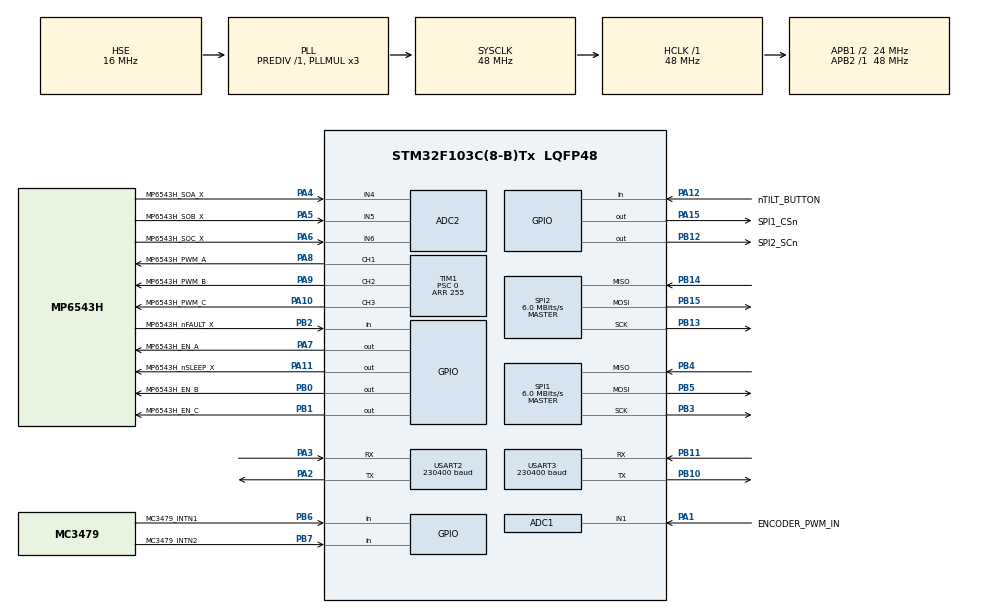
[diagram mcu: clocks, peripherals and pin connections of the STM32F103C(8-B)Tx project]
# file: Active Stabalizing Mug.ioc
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ADC1.Channel-0\#ChannelRegularConversion=ADC_CHANNEL_1
ADC1.NbrOfConversionFlag=1
ADC1.Rank-0\#ChannelRegularConversion=1
ADC1.SamplingTime-0\#ChannelRegularConversion=ADC_SAMPLETIME_1CYCLE_5
ADC1.master=1
ADC2.Channel-1\#ChannelRegularConversion=ADC_CHANNEL_4
ADC2.Channel-2\#ChannelRegularConversion=ADC_CHANNEL_5
ADC2.Channel-3\#ChannelRegularConversion=ADC_CHANNEL_6
ADC2.ContinuousConvMode=DISABLE
ADC2.DiscontinuousConvMode=ENABLE
ADC2.NbrOfConversion=3
ADC2.NbrOfConversionFlag=1
ADC2.NbrOfDiscConversion=3
ADC2.Rank-1\#ChannelRegularConversion=1
ADC2.Rank-2\#ChannelRegularConversion=2
ADC2.Rank-3\#ChannelRegularConversion=3
ADC2.SamplingTime-1\#ChannelRegularConversion=ADC_SAMPLETIME_1CYCLE_5
ADC2.SamplingTime-2\#ChannelRegularConversion=ADC_SAMPLETIME_1CYCLE_5
ADC2.SamplingTime-3\#ChannelRegularConversion=ADC_SAMPLETIME_1CYCLE_5
Mcu.Family=STM32F1
Mcu.Name=STM32F103C(8-B)Tx
Mcu.Package=LQFP48
NVIC.PriorityGroup=NVIC_PRIORITYGROUP_4
PA1.GPIO_Label=ENCODER_PWM_IN
PA1.Signal=ADCx_IN1
PA10.GPIO_Label=MP6543H_PWM_C
PA10.Signal=S_TIM1_CH3
PA11.GPIO_Label=MP6543H_nSLEEP_X
PA11.Signal=GPIO_Output
PA12.GPIO_Label=nTILT_BUTTON
PA12.GPIO_PuPd=GPIO_PULLUP
PA12.Signal=GPIO_Input
PA13.GPIO_Label=SYS_SWDIO
PA13.Mode=Serial_Wire
PA13.Signal=SYS_JTMS-SWDIO
PA14.GPIO_Label=SYS_SWCLK
PA14.Mode=Serial_Wire
PA14.Signal=SYS_JTCK-SWCLK
PA15.GPIO_Label=SPI1_CSn
PA15.Signal=GPIO_Output
PA2.Mode=Asynchronous
PA2.Signal=USART2_TX
PA3.Mode=Asynchronous
PA3.Signal=USART2_RX
PA4.GPIO_Label=MP6543H_SOA_X
PA4.Signal=ADCx_IN4
PA5.GPIO_Label=MP6543H_SOB_X
PA5.Signal=ADCx_IN5
PA6.GPIO_Label=MP6543H_SOC_X
PA6.Signal=ADCx_IN6
PA7.GPIO_Label=MP6543H_EN_A
PA7.Signal=GPIO_Output
PA8.GPIO_Label=MP6543H_PWM_A
PA8.Signal=S_TIM1_CH1
PA9.GPIO_Label=MP6543H_PWM_B
PA9.Signal=S_TIM1_CH2
PB0.GPIO_Label=MP6543H_EN_B
PB0.Signal=GPIO_Output
PB1.GPIO_Label=MP6543H_EN_C
PB1.Signal=GPIO_Output
PB10.Mode=Asynchronous
PB10.Signal=USART3_TX
PB11.Mode=Asynchronous
PB11.Signal=USART3_RX
PB12.GPIO_Label=SPI2_SCn
PB12.Signal=GPIO_Output
PB13.Mode=Full_Duplex_Master
PB13.Signal=SPI2_SCK
PB14.Mode=Full_Duplex_Master
PB14.Signal=SPI2_MISO
PB15.Mode=Full_Duplex_Master
PB15.Signal=SPI2_MOSI
PB2.GPIO_Label=MP6543H_nFAULT_X
PB2.GPIO_PuPd=GPIO_PULLUP
PB2.Signal=GPIO_Input
PB3.Mode=Full_Duplex_Master
PB3.Signal=SPI1_SCK
PB4.GPIO_PuPd=GPIO_PULLUP
PB4.Mode=Full_Duplex_Master
PB4.Signal=SPI1_MISO
PB5.Mode=Full_Duplex_Master
PB5.Signal=SPI1_MOSI
PB6.GPIO_Label=MC3479_INTN1
PB6.GPIO_PuPd=GPIO_PULLUP
PB6.Signal=GPIO_Input
PB7.GPIO_Label=MC3479_INTN2
PB7.GPIO_PuPd=GPIO_PULLUP
PB7.Signal=GPIO_Input
PD0-OSC_IN.Mode=HSE-External-Oscillator
PD0-OSC_IN.Signal=RCC_OSC_IN
PD1-OSC_OUT.Mode=HSE-External-Oscillator
PD1-OSC_OUT.Signal=RCC_OSC_OUT
ProjectManager.HeapSize=0x200
ProjectManager.StackSize=0x400
ProjectManager.TargetToolchain=STM32CubeIDE
RCC.ADCPresc=RCC_ADCPCLK2_DIV4
RCC.AHBFreq_Value=48000000
RCC.APB1CLKDivider=RCC_HCLK_DIV2
RCC.APB1Freq_Value=24000000
RCC.APB1TimFreq_Value=48000000
RCC.APB2Freq_Value=48000000
RCC.APB2TimFreq_Value=48000000
RCC.HCLKFreq_Value=48000000
RCC.HSE_VALUE=16000000
RCC.PLLMUL=RCC_PLL_MUL3
RCC.PLLSourceVirtual=RCC_PLLSOURCE_HSE
RCC.SYSCLKFreq_VALUE=48000000
RCC.SYSCLKSource=RCC_SYSCLKSOURCE_PLLCLK
RCC.USBFreq_Value=48000000
SH.ADCx_IN1.0=ADC1_IN1,IN1
SH.ADCx_IN4.0=ADC2_IN4,IN4
SH.ADCx_IN5.0=ADC2_IN5,IN5
SH.ADCx_IN6.0=ADC2_IN6,IN6
SH.S_TIM1_CH1.0=TIM1_CH1,PWM Generation1 CH1
SH.S_TIM1_CH2.0=TIM1_CH2,PWM Generation2 CH2
SH.S_TIM1_CH3.0=TIM1_CH3,PWM Generation3 CH3
SPI1.BaudRatePrescaler=SPI_BAUDRATEPRESCALER_8
SPI1.CLKPolarity=SPI_POLARITY_LOW
SPI1.CalculateBaudRate=6.0 MBits/s
SPI1.Direction=SPI_DIRECTION_2LINES
SPI1.Mode=SPI_MODE_MASTER
SPI1.VirtualType=VM_MASTER
SPI2.BaudRatePrescaler=SPI_BAUDRATEPRESCALER_4
SPI2.CalculateBaudRate=6.0 MBits/s
SPI2.DataSize=SPI_DATASIZE_8BIT
SPI2.Direction=SPI_DIRECTION_2LINES
SPI2.FirstBit=SPI_FIRSTBIT_MSB
SPI2.Mode=SPI_MODE_MASTER
SPI2.VirtualType=VM_MASTER
TIM1.AutoReloadPreload=TIM_AUTORELOAD_PRELOAD_ENABLE
TIM1.Channel-PWM\ Generation1\ CH1=TIM_CHANNEL_1
TIM1.Channel-PWM\ Generation2\ CH2=TIM_CHANNEL_2
TIM1.Channel-PWM\ Generation3\ CH3=TIM_CHANNEL_3
TIM1.ClockDivision=TIM_CLOCKDIVISION_DIV1
TIM1.Period=255
TIM1.Prescaler=0
TIM1.Pulse-PWM\ Generation1\ CH1=0
TIM1.Pulse-PWM\ Generation2\ CH2=0
TIM2.Prescaler=48-1
USART2.BaudRate=230400
USART2.VirtualMode=VM_ASYNC
USART3.BaudRate=230400
USART3.VirtualMode=VM_ASYNC
VP_TIM1_VS_ClockSourceINT.Mode=Internal
VP_TIM2_VS_ClockSourceINT.Mode=Internal
board=custom

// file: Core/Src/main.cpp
/* USER CODE BEGIN Header */
/**
  ******************************************************************************
  * @file           : main.c
  * @brief          : Main program body
  ******************************************************************************
  * @attention
  *
  * Copyright (c) 2022 STMicroelectronics.
  * All rights reserved.
  *
  * This software is licensed under terms that can be found in the LICENSE file
  * in the root directory of this software component.
  * If no LICENSE file comes with this software, it is provided AS-IS.
  *
  ******************************************************************************
  */
/* USER CODE END Header */
#include "main.h"

/* USER CODE BEGIN Includes */
#include <math.h>

#include "MC3479.h"

#include "MP6543H.h"

#include "controlSystem.h"

#include "AS5048A.h"
/* USER CODE END Includes */

/* USER CODE BEGIN PD */

/* CW and CCW are defined as the direction of the mug when facing the axis' motors from the outside of the mug, looking in.
 * so if the mug were to turn CCW on the handle's x-axis, this indicates a positive theta value.
 * To correct for this, we would set motor direction to CW to subtract from theta.
 * */
//#define CLOCKWISE_DIR (1)
//#define COUNTER_CLOCKWISE_DIR (-1)
#define INACTIVITY_THRESHOLD 1000 //value where incactivity_counter will trigger sleep/idle

//#define __DEBUG_EN
#define __TEST_CODE_EN
//#define __IDLE_CURRENT_TEST_EN
#define __NORMAL_MODE_EN
//#define __SIMULINK_EN
//#define __OCP_MEASUREMENT_EN

/* USER CODE END PD */

ADC_HandleTypeDef hadc1;
ADC_HandleTypeDef hadc2;

SPI_HandleTypeDef hspi1;
SPI_HandleTypeDef hspi2;

TIM_HandleTypeDef htim1;
TIM_HandleTypeDef htim2;

UART_HandleTypeDef huart2;
UART_HandleTypeDef huart3;

void SystemClock_Config(void);
static void MX_GPIO_Init(void);
static void MX_ADC2_Init(void);
static void MX_SPI1_Init(void);
static void MX_TIM1_Init(void);
static void MX_USART2_UART_Init(void);
static void MX_USART3_UART_Init(void);
static void MX_ADC1_Init(void);
static void MX_SPI2_Init(void);
static void MX_TIM2_Init(void);
/* USER CODE BEGIN PFP */
HAL_StatusTypeDef UART_Send_16bit(UART_HandleTypeDef* uart, uint16_t data);
void delay_us(uint16_t us);
/* USER CODE END PFP */

int main(void)
{

  /* MCU Configuration--------------------------------------------------------*/

  /* Reset of all peripherals, Initializes the Flash interface and the Systick. */
  HAL_Init();

  /* Configure the system clock */
  SystemClock_Config();

  /* Initialize all configured peripherals */
  MX_GPIO_Init();
  MX_ADC2_Init();
  MX_SPI1_Init();
  MX_TIM1_Init();
  MX_USART2_UART_Init();
  MX_USART3_UART_Init();
  MX_ADC1_Init();
  MX_SPI2_Init();
  MX_TIM2_Init();
  /* USER CODE BEGIN 2 */

  uint8_t xData [2];
  uint8_t yData [2];
  uint8_t zData [2];
//  uint8_t motionFlagStatus;
//  uint8_t motionIrqStatus;

// TODO: implement sleep routine:
  uint16_t inactivity_counter = 0;
//  bool x_inactive = false;
//  bool y_inactive = false;

  double x_theta = 0;
  double delta_x_theta;
  double delta_x_theta_threshold = 2; // movement less than 1 degree  is assumed to be a stationary mug
  int16_t x_nominal = 0;
  //  int16_t y_theta = 0;

  int8_t allowableAngle = 8;
  int16_t currentEncoderAngle;
//  int16_t deltaEncoderAngle = 0;
//  int16_t deltaEncoderAngleThreshold = 5; // movement of 5 degrees when delta x has remained less than 1 degree is assumed to be a stationary mug.
  int16_t encoderAngleOffset = 71;
  int16_t sineIndexAtZero = 275; // Phase angles when encoder is at 0 degrees in relation to the mug

  double scalar; // Phase amplitude constant, 1.0 for 100% amplitude, 0.0 for 0% amplitude.

#ifdef	 __SIMULINK_EN
	  //UART3 used for Simulink output/input
  uint8_t Simulink_Out[2] = {0};
  uint8_t Simulink_Packet[8] = {0};
#endif //__SIMULINK_EN//

  //Configure Accelerometer using PA4 for CSn, in SPI mode
  MC3479.setSerialSPI(&hspi1, GPIOA, SPI1_CSn_Pin);
  MC3479.configAccelerometer();

  //Configure GPIO variables for x-axis
  MP6543H.x_configMotorController(TIM_CHANNEL_1, TIM_CHANNEL_2, TIM_CHANNEL_3, &htim1,
		  	  	  	  	  	  	  MP6543H_EN_A_GPIO_Port, MP6543H_EN_A_Pin,
								  	  MP6543H_EN_B_GPIO_Port, MP6543H_EN_B_Pin,
									  	  MP6543H_EN_C_GPIO_Port, MP6543H_EN_C_Pin,
									  	  	  MP6543H_nSLEEP_X_GPIO_Port, MP6543H_nSLEEP_X_Pin,
											  	  MP6543H_nFAULT_X_GPIO_Port, MP6543H_nFAULT_X_Pin);

  ControlSystem.initControlSystem();
  AS5048A.SPI_Init(&hspi2, SPI2_SCn_GPIO_Port, SPI2_SCn_Pin);

  // Get first accelerometer position:
  MC3479.getXYZ(xData, yData, zData);
  x_theta = ControlSystem.x_normalizeTheta(xData[0], xData[1], zData[0], zData[1]);

  // Initial encoder variables:
  currentEncoderAngle = (AS5048A.readAngleSequential() + (360 + encoderAngleOffset))%360 - 180;
  currentEncoderAngle = (AS5048A.readAngleSequential() + (360 + encoderAngleOffset))%360 - 180;

// Initialize position variables:
  // Determine Initial Sine index based on accelerometer:
  uint8_t relativePhaseAngle = currentEncoderAngle % (360/N_POLE_PAIRS);
  // Initialize phase offsets:
  uint16_t phaseAindex = (sineIndexAtZero + (relativePhaseAngle / DEG_PER_PHASE_INC));
  phaseAindex %= N_SINE_IDX;
  uint16_t phaseBindex = (phaseAindex + 120)%N_SINE_IDX;
  uint16_t phaseCindex = (phaseAindex + 240)%N_SINE_IDX;
  TIM1->CCR1 = 0.1*ControlSystem.sineWave[phaseAindex];
  TIM1->CCR2 = 0.1*ControlSystem.sineWave[phaseBindex];
  TIM1->CCR3 = 0.1*ControlSystem.sineWave[phaseCindex];

  //		  HAL_TIM_PWM_Stop(&htim1, TIM_CHANNEL_1);
  //		  HAL_TIM_PWM_Stop(&htim1, TIM_CHANNEL_2);
  //		  HAL_TIM_PWM_Stop(&htim1, TIM_CHANNEL_3);
  // Start all phase PWM signals
  HAL_TIM_PWM_Start(&htim1, TIM_CHANNEL_1);
  HAL_TIM_PWM_Start(&htim1, TIM_CHANNEL_2);
  HAL_TIM_PWM_Start(&htim1, TIM_CHANNEL_3);
  // Enable all Phase outputs
  HAL_GPIO_WritePin(MP6543H_EN_A_GPIO_Port, MP6543H_EN_A_Pin, GPIO_PIN_SET);
  HAL_GPIO_WritePin(MP6543H_EN_B_GPIO_Port, MP6543H_EN_B_Pin, GPIO_PIN_SET);
  HAL_GPIO_WritePin(MP6543H_EN_C_GPIO_Port, MP6543H_EN_C_Pin, GPIO_PIN_SET);
  HAL_Delay(100);

  // TEST LOL
//  while (1){
//	  phaseAindex = (phaseAindex+N_SINE_IDX+5)%N_SINE_IDX;
//	  phaseBindex = (phaseAindex + 120) % N_SINE_IDX;
//	  phaseCindex = (phaseAindex + 240) % N_SINE_IDX;
//	  TIM1->CCR1 = 0.2*ControlSystem.sineWave[phaseAindex];
//	  TIM1->CCR2 = 0.2*ControlSystem.sineWave[phaseBindex];
//	  TIM1->CCR3 = 0.2*ControlSystem.sineWave[phaseCindex];
//	  HAL_Delay(1);
//  }
   //END TEST LOL
//   Spin handle CW if mug is more than 2 degrees CW in relation to handle:
  while (currentEncoderAngle < -1){
	  phaseAindex = (phaseAindex + 361)%N_SINE_IDX;
	  phaseBindex = (phaseAindex + 120)%N_SINE_IDX;
	  phaseCindex = (phaseAindex + 240)%N_SINE_IDX;
	  TIM1->CCR1 = 0.6*ControlSystem.sineWave[phaseAindex];
	  TIM1->CCR2 = 0.6*ControlSystem.sineWave[phaseBindex];
	  TIM1->CCR3 = 0.6*ControlSystem.sineWave[phaseCindex];

	  currentEncoderAngle = (AS5048A.readAngleSequential() + (360 + encoderAngleOffset))%360 - 180;
//	  HAL_UART_Transmit(&huart3, &phaseAindex, 1, 10);
//	  UART_Send_16bit(&huart3, currentEncoderAngle);
	  HAL_Delay(1);
  }
  // Spin handle CCW if mug is more than 2 degrees CCW in relation to handle:
  while (currentEncoderAngle > 1){
	  phaseAindex = (phaseAindex + 359)%N_SINE_IDX;
	  phaseBindex = (phaseAindex + 120)%N_SINE_IDX;
	  phaseCindex = (phaseAindex + 240)%N_SINE_IDX;
	  TIM1->CCR1 = 0.6*ControlSystem.sineWave[phaseAindex];
	  TIM1->CCR2 = 0.6*ControlSystem.sineWave[phaseBindex];
	  TIM1->CCR3 = 0.6*ControlSystem.sineWave[phaseCindex];

	  currentEncoderAngle = (AS5048A.readAngleSequential() + (360 + encoderAngleOffset))%360 - 180;
//	  HAL_UART_Transmit(&huart3, &phaseAindex, 1, 10);
//	  UART_Send_16bit(&huart3, currentEncoderAngle);
	  HAL_Delay(1);
  }
  HAL_Delay(1000);
  HAL_TIM_Base_Start(&htim2); // Start timer necessary for delay_ms() function.
// ***END HANDLE HOMING***

  /* USER CODE END 2 */

  /* Infinite loop */
  /* USER CODE BEGIN WHILE */

  while (1)
  {
	  // Brake if any motor fault or if tilt button is pressed.
	  while(HAL_GPIO_ReadPin(nTILT_BUTTON_GPIO_Port, nTILT_BUTTON_Pin) == 0){
		  TIM1->CCR1 = 0.7*ControlSystem.sineWave[phaseAindex];
		  TIM1->CCR2 = 0.7*ControlSystem.sineWave[phaseBindex];
		  TIM1->CCR3 = 0.7*ControlSystem.sineWave[phaseCindex];
		  delay_us(1000);
	  }
	  while(MP6543H.x_motorFault()){
		  HAL_UART_Transmit(&huart3, (uint8_t*)0xFFFF, sizeof(0xFFFF), 10);
		  delay_us(100);
	  }

#ifdef __NORMAL_MODE_EN

	  // fetch and normalize theta:
	  MC3479.getXYZ(xData, yData, zData);
	  x_theta = ControlSystem.x_normalizeTheta(xData[0], xData[1], zData[0], zData[1]);
	  delta_x_theta = ControlSystem.calculateDelta(ControlSystem.x_previousAngles);

	  //	  y_theta = ControlSystem.normalizeTheta(yData[0], yData[1], zData[0], zData[1]);

#ifdef	 __SIMULINK_EN
	  // simulink and matlab are VERY slow when compared to our 1ms control loop, and as such, motor corrections are also slow.
	  // Matlab was used to implement a general PID tune, resulting in kp=0.4, ki=0.0, and ki=0.35.
	  // NOTE: UART2 used for Simulink IO

	  // Construct the Simulink Packet and send:
//	  Simulink_Packet[0] = (uint8_t)(x_theta & 0x00FF); // Bottom 8 bits of xTheta
//	  Simulink_Packet[1] = (uint8_t)(x_theta >> 8);		// Upper 8 bits of xTheta
//	  HAL_UART_Transmit(&huart3, &Simulink_Packet[0], sizeof(Simulink_Packet)/4, 10);
	  UART_Send_16bit(&huart2, (int16_t)x_theta);

// Check for UART Rx Buffer:
// Loop until we receive xAxis PWM value in SimulinkPwm[0]:
//	  while (HAL_UART_Receive(&huart3, &Simulink_Out[0], sizeof(Simulink_Out[0]), 0) == HAL_TIMEOUT){
//		  HAL_Delay(1);
//	  }

	  // Code above replaced with a simple read and timeout to just keep the loop rolling.
	  HAL_UART_Receive(&huart2, &Simulink_Out[0], sizeof(Simulink_Out[0]),100);
	  int8_t P = Simulink_Out[0];
#else
	  // Simple P-Control for now...
	  int16_t PID = ControlSystem.getPID(x_theta, x_nominal); 	// Can be negative (INCREASE FOR FASTER MOVEMENT)

#endif //__SIMULINK_EN//

	  // Check for inactivity:
	  if (abs(delta_x_theta) < delta_x_theta_threshold && abs(x_theta) < allowableAngle){
  		  inactivity_counter += 1;
  	  }
  	  else{
  		  inactivity_counter = 0;
  	  }

	  if (inactivity_counter < INACTIVITY_THRESHOLD){
		  // Update FOC amplitude and phase variables
		  scalar = (abs(x_theta) < 10) ? 0.3 : 0.6;// 0.5 appears to be the minimum threshold where the motor resists skipping phases due to quick hand movements.
		  phaseAindex = (phaseAindex + N_SINE_IDX + PID) % N_SINE_IDX;
		  phaseBindex = (phaseAindex + 120) % N_SINE_IDX;
		  phaseCindex = (phaseAindex + 240) % N_SINE_IDX;

		  // Update PWM registers with new phase/amplitude
		  //TODO: to compensate for imbalanced gimbal apply greater scalar to the more loaded direction of travel.
		  TIM1->CCR1 = scalar*ControlSystem.sineWave[phaseAindex];
		  TIM1->CCR2 = scalar*ControlSystem.sineWave[phaseBindex];
		  TIM1->CCR3 = scalar*ControlSystem.sineWave[phaseCindex];

		  // Arbitrary delay to regulate loop timing / smooth things out.
		  // TODO: final delay value following PID tuning.
		  delay_us(500); //750us vs 1000us does not appear to disrupt smooth motor operation.
	  }
//	  UART_Send_16bit(&huart3, currentEncoderAngle);
//	  UART_Send_16bit(&huart3, (int16_t)x_theta);
//	  UART_Send_16bit(&huart3, inactivity_counter);
//    HAL_UART_Transmit(&huart3, &phaseAindex, sizeof(phaseAindex), 10);

#endif //__NORMAL_MODE_EN//
#ifdef __TEST_CODE_EN

	  /* TODO: implement mug-on-table-detection routine:
	   * 1. Need to check x_theta over a range and get the delta.
	   * 2. Track delta encoder angle over a similar range.
	   * 3. Whenever the delta x_theta is within a threshold, check for delta encoder angle being over a threshold.
	   * 4. If encoder angle has changed greater than x_theta, it can be assumed the handle is spinning.
	   * 5. If we have been inactive for a reasonable time,Home the handle. put delay to avoid noise in sensor measurements.
	   * 5. continue to check for delta x_theta while going into a lower-power mode.
	   * 6. break out of loop once x_theta is sufficiently great.
	   */

	  // TEST CODE FOR ON-TABLE DETECTION:
	  // TODO: Introduce breaks into while loops with checks for delta_x in case mug is picked up mid-homing.

	  if (inactivity_counter >= INACTIVITY_THRESHOLD){
		  // TODO: Do we even need encoder data checks to see if we are inactive?
	  	  currentEncoderAngle = (AS5048A.readAngleSequential() + (360 + encoderAngleOffset))%360 - 180;
//	  	  deltaEncoderAngle = ControlSystem.calculateDeltaEncoder(currentEncoderAngle);
	  		  // Home Handle
	  		  // TODO: Make a handle homing function
	  		  // Spin handle CW if mug is more than 2 degrees CW in relation to handle:
	  		  while (currentEncoderAngle < -2){
	  			  phaseAindex = (phaseAindex+N_SINE_IDX+1)%N_SINE_IDX;
	  			  phaseBindex = (phaseAindex + 120) % N_SINE_IDX;
	  			  phaseCindex = (phaseAindex + 240) % N_SINE_IDX;
	  			  TIM1->CCR1 = 0.6*ControlSystem.sineWave[phaseAindex];
	  			  TIM1->CCR2 = 0.6*ControlSystem.sineWave[phaseBindex];
	  			  TIM1->CCR3 = 0.6*ControlSystem.sineWave[phaseCindex];

	  			  currentEncoderAngle = (AS5048A.readAngleSequential() + (360 + encoderAngleOffset))%360 - 180;
	  		//	  HAL_UART_Transmit(&huart3, &phaseAindex, 1, 10);
	  		//	  UART_Send_16bit(&huart3, currentEncoderAngle);
	  			  HAL_Delay(2);
	  		  }
	  		  // Spin handle CCW if mug is more than 2 degrees CCW in relation to handle:
	  		  while (currentEncoderAngle > 2){
	  			phaseAindex = (phaseAindex+N_SINE_IDX-1)%N_SINE_IDX;
	  			phaseBindex = (phaseAindex + 120) % N_SINE_IDX;
	  			phaseCindex = (phaseAindex + 240) % N_SINE_IDX;
	  			  TIM1->CCR1 = 0.6*ControlSystem.sineWave[phaseAindex];
	  			  TIM1->CCR2 = 0.6*ControlSystem.sineWave[phaseBindex];
	  			  TIM1->CCR3 = 0.6*ControlSystem.sineWave[phaseCindex];

	  			  currentEncoderAngle = (AS5048A.readAngleSequential() + (360 + encoderAngleOffset))%360 - 180;
	  		//	  HAL_UART_Transmit(&huart3, &phaseAindex, 1, 10);
	  		//	  UART_Send_16bit(&huart3, currentEncoderAngle);
	  			  HAL_Delay(2);
	  		  }
	  		  scalar = 0.2;
			  TIM1->CCR1 = scalar*ControlSystem.sineWave[phaseAindex];
			  TIM1->CCR2 = scalar*ControlSystem.sineWave[phaseBindex];
			  TIM1->CCR3 = scalar*ControlSystem.sineWave[phaseCindex];
//			  UART_Send_16bit(&huart3, (int16_t)x_theta);
//			  UART_Send_16bit(&huart3, (int16_t)delta_x_theta);
			  ControlSystem.resetPID();
	  	  }

#endif //__TEST_CODE_EN//
#ifdef __OCP_MEASUREMENT_EN

// Read ADC Channel 4:s
	HAL_ADC_Start(&hadc2);
	HAL_ADC_PollForConversion(&hadc2, HAL_MAX_DELAY);
	uint16_t adc_current = HAL_ADC_GetValue(&hadc2);
	uint8_t p4[2] = {(uint8_t)(adc_current & 0x00FF), (uint8_t)(adc_current >> 8)};

// Read ADC Channel 5:
	HAL_ADC_Start(&hadc2);
	HAL_ADC_PollForConversion(&hadc2, HAL_MAX_DELAY);
	adc_current = HAL_ADC_GetValue(&hadc2);
	uint8_t p5[2] = {(uint8_t)(adc_current & 0x00FF), (uint8_t)(adc_current >> 8)};

// Read ADC Channel 6:
	HAL_ADC_Start(&hadc2);
	HAL_ADC_PollForConversion(&hadc2, HAL_MAX_DELAY);
	adc_current = HAL_ADC_GetValue(&hadc2);
	HAL_ADC_Stop(&hadc2);
	uint8_t p6[2] = {(uint8_t)(adc_current & 0x00FF), (uint8_t)(adc_current >> 8)};

// Transmit ADC 4,5,6 data:
	HAL_UART_Transmit(&huart3, &p4[0], sizeof(p4), HAL_MAX_DELAY);
	HAL_UART_Transmit(&huart3, &p5[0], sizeof(p5), HAL_MAX_DELAY);
	HAL_UART_Transmit(&huart3, &p6[0], sizeof(p6), HAL_MAX_DELAY);
//	HAL_Delay(4000);

#endif //__OCP_MEASUREMENT_EN//

#ifdef __IDLE_CURRENT_TEST_EN
	  MC3479.setSampleRate(RATE0_50Hz);
	  MP6543H.x_motorSleep();
	  MP6543H.y_motorSleep();
	  HAL_Delay(5000);
	  MP6543H.x_motorWake();
	  MP6543H.y_motorWake();
	  HAL_Delay(5000);
#endif //__IDLE_CURRENT_TEST_EN//

    /* USER CODE END WHILE */

  }
}

void SystemClock_Config(void)
{
  RCC_OscInitTypeDef RCC_OscInitStruct = {0};
  RCC_ClkInitTypeDef RCC_ClkInitStruct = {0};
  RCC_PeriphCLKInitTypeDef PeriphClkInit = {0};

  /** Initializes the RCC Oscillators according to the specified parameters
  * in the RCC_OscInitTypeDef structure.
  */
  RCC_OscInitStruct.OscillatorType = RCC_OSCILLATORTYPE_HSE;
  RCC_OscInitStruct.HSEState = RCC_HSE_ON;
  RCC_OscInitStruct.HSEPredivValue = RCC_HSE_PREDIV_DIV1;
  RCC_OscInitStruct.HSIState = RCC_HSI_ON;
  RCC_OscInitStruct.PLL.PLLState = RCC_PLL_ON;
  RCC_OscInitStruct.PLL.PLLSource = RCC_PLLSOURCE_HSE;
  RCC_OscInitStruct.PLL.PLLMUL = RCC_PLL_MUL3;
  if (HAL_RCC_OscConfig(&RCC_OscInitStruct) != HAL_OK)
  {
    Error_Handler();
  }

  /** Initializes the CPU, AHB and APB buses clocks
  */
  RCC_ClkInitStruct.ClockType = RCC_CLOCKTYPE_HCLK|RCC_CLOCKTYPE_SYSCLK
                              |RCC_CLOCKTYPE_PCLK1|RCC_CLOCKTYPE_PCLK2;
  RCC_ClkInitStruct.SYSCLKSource = RCC_SYSCLKSOURCE_PLLCLK;
  RCC_ClkInitStruct.AHBCLKDivider = RCC_SYSCLK_DIV1;
  RCC_ClkInitStruct.APB1CLKDivider = RCC_HCLK_DIV2;
  RCC_ClkInitStruct.APB2CLKDivider = RCC_HCLK_DIV1;

  if (HAL_RCC_ClockConfig(&RCC_ClkInitStruct, FLASH_LATENCY_1) != HAL_OK)
  {
    Error_Handler();
  }
  PeriphClkInit.PeriphClockSelection = RCC_PERIPHCLK_ADC;
  PeriphClkInit.AdcClockSelection = RCC_ADCPCLK2_DIV4;
  if (HAL_RCCEx_PeriphCLKConfig(&PeriphClkInit) != HAL_OK)
  {
    Error_Handler();
  }
}

static void MX_ADC1_Init(void)
{

  ADC_ChannelConfTypeDef sConfig = {0};

  /** Common config
  */
  hadc1.Instance = ADC1;
  hadc1.Init.ScanConvMode = ADC_SCAN_DISABLE;
  hadc1.Init.ContinuousConvMode = DISABLE;
  hadc1.Init.DiscontinuousConvMode = DISABLE;
  hadc1.Init.ExternalTrigConv = ADC_SOFTWARE_START;
  hadc1.Init.DataAlign = ADC_DATAALIGN_RIGHT;
  hadc1.Init.NbrOfConversion = 1;
  if (HAL_ADC_Init(&hadc1) != HAL_OK)
  {
    Error_Handler();
  }

  /** Configure Regular Channel
  */
  sConfig.Channel = ADC_CHANNEL_1;
  sConfig.Rank = ADC_REGULAR_RANK_1;
  sConfig.SamplingTime = ADC_SAMPLETIME_1CYCLE_5;
  if (HAL_ADC_ConfigChannel(&hadc1, &sConfig) != HAL_OK)
  {
    Error_Handler();
  }

}

static void MX_ADC2_Init(void)
{

  ADC_ChannelConfTypeDef sConfig = {0};

  /** Common config
  */
  hadc2.Instance = ADC2;
  hadc2.Init.ScanConvMode = ADC_SCAN_ENABLE;
  hadc2.Init.ContinuousConvMode = DISABLE;
  hadc2.Init.DiscontinuousConvMode = ENABLE;
  hadc2.Init.NbrOfDiscConversion = 3;
  hadc2.Init.ExternalTrigConv = ADC_SOFTWARE_START;
  hadc2.Init.DataAlign = ADC_DATAALIGN_RIGHT;
  hadc2.Init.NbrOfConversion = 3;
  if (HAL_ADC_Init(&hadc2) != HAL_OK)
  {
    Error_Handler();
  }

  /** Configure Regular Channel
  */
  sConfig.Channel = ADC_CHANNEL_4;
  sConfig.Rank = ADC_REGULAR_RANK_1;
  sConfig.SamplingTime = ADC_SAMPLETIME_1CYCLE_5;
  if (HAL_ADC_ConfigChannel(&hadc2, &sConfig) != HAL_OK)
  {
    Error_Handler();
  }

  /** Configure Regular Channel
  */
  sConfig.Channel = ADC_CHANNEL_5;
  sConfig.Rank = ADC_REGULAR_RANK_2;
  if (HAL_ADC_ConfigChannel(&hadc2, &sConfig) != HAL_OK)
  {
    Error_Handler();
  }

  /** Configure Regular Channel
  */
  sConfig.Channel = ADC_CHANNEL_6;
  sConfig.Rank = ADC_REGULAR_RANK_3;
  if (HAL_ADC_ConfigChannel(&hadc2, &sConfig) != HAL_OK)
  {
    Error_Handler();
  }

}

static void MX_SPI1_Init(void)
{

  /* SPI1 parameter configuration*/
  hspi1.Instance = SPI1;
  hspi1.Init.Mode = SPI_MODE_MASTER;
  hspi1.Init.Direction = SPI_DIRECTION_2LINES;
  hspi1.Init.DataSize = SPI_DATASIZE_8BIT;
  hspi1.Init.CLKPolarity = SPI_POLARITY_LOW;
  hspi1.Init.CLKPhase = SPI_PHASE_1EDGE;
  hspi1.Init.NSS = SPI_NSS_SOFT;
  hspi1.Init.BaudRatePrescaler = SPI_BAUDRATEPRESCALER_8;
  hspi1.Init.FirstBit = SPI_FIRSTBIT_MSB;
  hspi1.Init.TIMode = SPI_TIMODE_DISABLE;
  hspi1.Init.CRCCalculation = SPI_CRCCALCULATION_DISABLE;
  hspi1.Init.CRCPolynomial = 10;
  if (HAL_SPI_Init(&hspi1) != HAL_OK)
  {
    Error_Handler();
  }

}

static void MX_SPI2_Init(void)
{

  /* SPI2 parameter configuration*/
  hspi2.Instance = SPI2;
  hspi2.Init.Mode = SPI_MODE_MASTER;
  hspi2.Init.Direction = SPI_DIRECTION_2LINES;
  hspi2.Init.DataSize = SPI_DATASIZE_8BIT;
  hspi2.Init.CLKPolarity = SPI_POLARITY_LOW;
  hspi2.Init.CLKPhase = SPI_PHASE_1EDGE;
  hspi2.Init.NSS = SPI_NSS_SOFT;
  hspi2.Init.BaudRatePrescaler = SPI_BAUDRATEPRESCALER_4;
  hspi2.Init.FirstBit = SPI_FIRSTBIT_MSB;
  hspi2.Init.TIMode = SPI_TIMODE_DISABLE;
  hspi2.Init.CRCCalculation = SPI_CRCCALCULATION_DISABLE;
  hspi2.Init.CRCPolynomial = 10;
  if (HAL_SPI_Init(&hspi2) != HAL_OK)
  {
    Error_Handler();
  }

}

static void MX_TIM1_Init(void)
{

  TIM_ClockConfigTypeDef sClockSourceConfig = {0};
  TIM_MasterConfigTypeDef sMasterConfig = {0};
  TIM_OC_InitTypeDef sConfigOC = {0};
  TIM_BreakDeadTimeConfigTypeDef sBreakDeadTimeConfig = {0};

  htim1.Instance = TIM1;
  htim1.Init.Prescaler = 0;
  htim1.Init.CounterMode = TIM_COUNTERMODE_UP;
  htim1.Init.Period = 255;
  htim1.Init.ClockDivision = TIM_CLOCKDIVISION_DIV1;
  htim1.Init.RepetitionCounter = 0;
  htim1.Init.AutoReloadPreload = TIM_AUTORELOAD_PRELOAD_ENABLE;
  if (HAL_TIM_Base_Init(&htim1) != HAL_OK)
  {
    Error_Handler();
  }
  sClockSourceConfig.ClockSource = TIM_CLOCKSOURCE_INTERNAL;
  if (HAL_TIM_ConfigClockSource(&htim1, &sClockSourceConfig) != HAL_OK)
  {
    Error_Handler();
  }
  if (HAL_TIM_PWM_Init(&htim1) != HAL_OK)
  {
    Error_Handler();
  }
  sMasterConfig.MasterOutputTrigger = TIM_TRGO_RESET;
  sMasterConfig.MasterSlaveMode = TIM_MASTERSLAVEMODE_DISABLE;
  if (HAL_TIMEx_MasterConfigSynchronization(&htim1, &sMasterConfig) != HAL_OK)
  {
    Error_Handler();
  }
  sConfigOC.OCMode = TIM_OCMODE_PWM1;
  sConfigOC.Pulse = 0;
  sConfigOC.OCPolarity = TIM_OCPOLARITY_HIGH;
  sConfigOC.OCNPolarity = TIM_OCNPOLARITY_HIGH;
  sConfigOC.OCFastMode = TIM_OCFAST_DISABLE;
  sConfigOC.OCIdleState = TIM_OCIDLESTATE_RESET;
  sConfigOC.OCNIdleState = TIM_OCNIDLESTATE_RESET;
  if (HAL_TIM_PWM_ConfigChannel(&htim1, &sConfigOC, TIM_CHANNEL_1) != HAL_OK)
  {
    Error_Handler();
  }
  if (HAL_TIM_PWM_ConfigChannel(&htim1, &sConfigOC, TIM_CHANNEL_2) != HAL_OK)
  {
    Error_Handler();
  }
  if (HAL_TIM_PWM_ConfigChannel(&htim1, &sConfigOC, TIM_CHANNEL_3) != HAL_OK)
  {
    Error_Handler();
  }
  sBreakDeadTimeConfig.OffStateRunMode = TIM_OSSR_DISABLE;
  sBreakDeadTimeConfig.OffStateIDLEMode = TIM_OSSI_DISABLE;
  sBreakDeadTimeConfig.LockLevel = TIM_LOCKLEVEL_OFF;
  sBreakDeadTimeConfig.DeadTime = 0;
  sBreakDeadTimeConfig.BreakState = TIM_BREAK_DISABLE;
  sBreakDeadTimeConfig.BreakPolarity = TIM_BREAKPOLARITY_HIGH;
  sBreakDeadTimeConfig.AutomaticOutput = TIM_AUTOMATICOUTPUT_DISABLE;
  if (HAL_TIMEx_ConfigBreakDeadTime(&htim1, &sBreakDeadTimeConfig) != HAL_OK)
  {
    Error_Handler();
  }
  HAL_TIM_MspPostInit(&htim1);

}

static void MX_TIM2_Init(void)
{

  TIM_ClockConfigTypeDef sClockSourceConfig = {0};
  TIM_MasterConfigTypeDef sMasterConfig = {0};

  htim2.Instance = TIM2;
  htim2.Init.Prescaler = 48-1;
  htim2.Init.CounterMode = TIM_COUNTERMODE_UP;
  htim2.Init.Period = 65535;
  htim2.Init.ClockDivision = TIM_CLOCKDIVISION_DIV1;
  htim2.Init.AutoReloadPreload = TIM_AUTORELOAD_PRELOAD_DISABLE;
  if (HAL_TIM_Base_Init(&htim2) != HAL_OK)
  {
    Error_Handler();
  }
  sClockSourceConfig.ClockSource = TIM_CLOCKSOURCE_INTERNAL;
  if (HAL_TIM_ConfigClockSource(&htim2, &sClockSourceConfig) != HAL_OK)
  {
    Error_Handler();
  }
  sMasterConfig.MasterOutputTrigger = TIM_TRGO_RESET;
  sMasterConfig.MasterSlaveMode = TIM_MASTERSLAVEMODE_DISABLE;
  if (HAL_TIMEx_MasterConfigSynchronization(&htim2, &sMasterConfig) != HAL_OK)
  {
    Error_Handler();
  }

}

static void MX_USART2_UART_Init(void)
{

  huart2.Instance = USART2;
  huart2.Init.BaudRate = 230400;
  huart2.Init.WordLength = UART_WORDLENGTH_8B;
  huart2.Init.StopBits = UART_STOPBITS_1;
  huart2.Init.Parity = UART_PARITY_NONE;
  huart2.Init.Mode = UART_MODE_TX_RX;
  huart2.Init.HwFlowCtl = UART_HWCONTROL_NONE;
  huart2.Init.OverSampling = UART_OVERSAMPLING_16;
  if (HAL_UART_Init(&huart2) != HAL_OK)
  {
    Error_Handler();
  }

}

static void MX_USART3_UART_Init(void)
{

  huart3.Instance = USART3;
  huart3.Init.BaudRate = 230400;
  huart3.Init.WordLength = UART_WORDLENGTH_8B;
  huart3.Init.StopBits = UART_STOPBITS_1;
  huart3.Init.Parity = UART_PARITY_NONE;
  huart3.Init.Mode = UART_MODE_TX_RX;
  huart3.Init.HwFlowCtl = UART_HWCONTROL_NONE;
  huart3.Init.OverSampling = UART_OVERSAMPLING_16;
  if (HAL_UART_Init(&huart3) != HAL_OK)
  {
    Error_Handler();
  }

}

static void MX_GPIO_Init(void)
{
  GPIO_InitTypeDef GPIO_InitStruct = {0};

  /* GPIO Ports Clock Enable */
  __HAL_RCC_GPIOD_CLK_ENABLE();
  __HAL_RCC_GPIOA_CLK_ENABLE();
  __HAL_RCC_GPIOB_CLK_ENABLE();

  /*Configure GPIO pin Output Level */
  HAL_GPIO_WritePin(GPIOA, MP6543H_EN_A_Pin|MP6543H_nSLEEP_X_Pin|SPI1_CSn_Pin, GPIO_PIN_RESET);

  /*Configure GPIO pin Output Level */
  HAL_GPIO_WritePin(GPIOB, MP6543H_EN_B_Pin|MP6543H_EN_C_Pin|SPI2_SCn_Pin, GPIO_PIN_RESET);

  /*Configure GPIO pins : MP6543H_EN_A_Pin MP6543H_nSLEEP_X_Pin SPI1_CSn_Pin */
  GPIO_InitStruct.Pin = MP6543H_EN_A_Pin|MP6543H_nSLEEP_X_Pin|SPI1_CSn_Pin;
  GPIO_InitStruct.Mode = GPIO_MODE_OUTPUT_PP;
  GPIO_InitStruct.Pull = GPIO_NOPULL;
  GPIO_InitStruct.Speed = GPIO_SPEED_FREQ_LOW;
  HAL_GPIO_Init(GPIOA, &GPIO_InitStruct);

  /*Configure GPIO pins : MP6543H_EN_B_Pin MP6543H_EN_C_Pin SPI2_SCn_Pin */
  GPIO_InitStruct.Pin = MP6543H_EN_B_Pin|MP6543H_EN_C_Pin|SPI2_SCn_Pin;
  GPIO_InitStruct.Mode = GPIO_MODE_OUTPUT_PP;
  GPIO_InitStruct.Pull = GPIO_NOPULL;
  GPIO_InitStruct.Speed = GPIO_SPEED_FREQ_LOW;
  HAL_GPIO_Init(GPIOB, &GPIO_InitStruct);

  /*Configure GPIO pins : MP6543H_nFAULT_X_Pin MC3479_INTN1_Pin MC3479_INTN2_Pin */
  GPIO_InitStruct.Pin = MP6543H_nFAULT_X_Pin|MC3479_INTN1_Pin|MC3479_INTN2_Pin;
  GPIO_InitStruct.Mode = GPIO_MODE_INPUT;
  GPIO_InitStruct.Pull = GPIO_PULLUP;
  HAL_GPIO_Init(GPIOB, &GPIO_InitStruct);

  /*Configure GPIO pin : nTILT_BUTTON_Pin */
  GPIO_InitStruct.Pin = nTILT_BUTTON_Pin;
  GPIO_InitStruct.Mode = GPIO_MODE_INPUT;
  GPIO_InitStruct.Pull = GPIO_PULLUP;
  HAL_GPIO_Init(nTILT_BUTTON_GPIO_Port, &GPIO_InitStruct);

}

/* USER CODE BEGIN 4 */
HAL_StatusTypeDef UART_Send_16bit(UART_HandleTypeDef* uart, uint16_t data)
{
	uint8_t Data[2]= {(uint8_t)(data & 0xFF), (uint8_t)((data >> 8) & 0xFF)};
	return HAL_UART_Transmit(uart, &Data[0], sizeof(Data), 1);
}

void delay_us (uint16_t us)
{

	__HAL_TIM_SET_COUNTER(&htim2,0);  // set the counter value a 0
	while (__HAL_TIM_GET_COUNTER(&htim2) < us);  // wait for the counter to reach the us input in the parameter
	//TODO: add idle/sleep to this if desired.
}

/* USER CODE END 4 */

void Error_Handler(void)
{
  __disable_irq();
  while (1)
  {
  }
}
